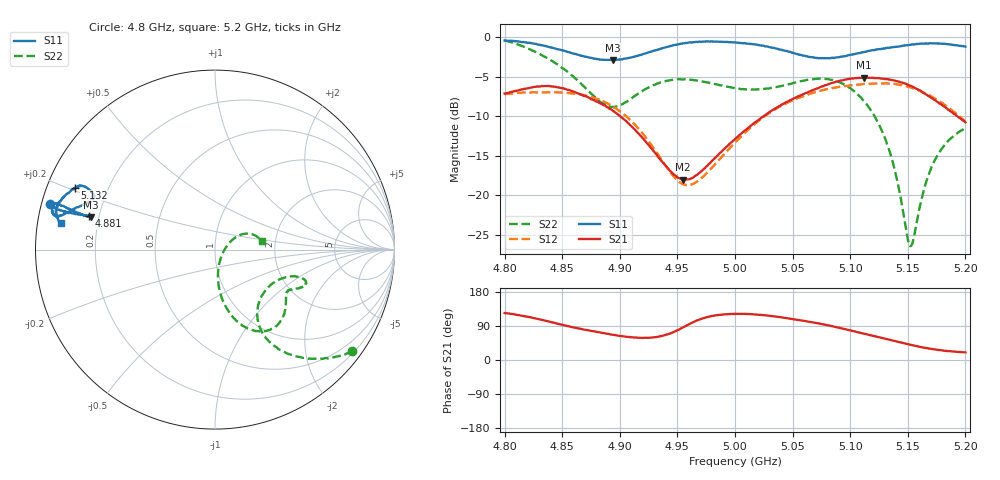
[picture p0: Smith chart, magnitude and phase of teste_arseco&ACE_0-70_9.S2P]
! Network Analyzer HP8722D
! Hewlett-Packard
! Data name: Linha & Wilkinson
! Saver's name: Rodrigo Anjos
! Comments: Teste da utilização de aquisição
! continua pelo VNA HP8722D
! Time and date: 8/5/2025 12:50
!  Frequency  S11  S21  S12  S22
# HZ  S  MA R 50
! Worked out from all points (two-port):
!   401 points, 4.8 GHz to 5.2 GHz, reference 50 ohm
!   highest |S21| = -5.13 dB at 5.112 GHz (marker M1); lowest = -18.1 dB at 4.955 GHz (marker M2)
!   |S21| within 3 dB of the highest: start of sweep to 4.879 GHz; 5.046 GHz to 5.175 GHz (128.7 MHz wide, 2.52 % of centre)
!   lowest |S11| = -2.9 dB at 4.894 GHz (marker M3), VSWR 6.00, Z = 8.46 + j6.29 ohm
!   |S11| at or under -10 dB: nowhere
!   |S22| runs from -26.5 to -0.4 dB; largest |S21 - S12| = 0.71
!   S11 on the Smith chart (normalised r, x): 4.8 GHz: 0.03, +0.14; 4.881 GHz: 0.16, +0.13; 5.132 GHz: 0.08, +0.21; 5.2 GHz: 0.07, +0.08
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4.8e9  0.9518 164.5  0.4397 124.1  0.4356 19.1  0.9507 -36.5
4.834e9  0.8818 165.6  0.4896 104.7  0.4472 8.9  0.7558 -52.2
4.867e9  0.7617 165.2  0.4311 81.4  0.432 -4.8  0.5022 -60.0
4.881e9  0.725 165.2  0.3893 73.8  0.4053 -13.1  0.4006 -53.5
4.894e9  0.7145 165.3  0.3417 66.6  0.3645 -21.3  0.3616 -38.7
4.934e9  0.8364 164.4  0.1721 61.8  0.177 -32.4  0.5115 -18.1
4.955e9  0.9132 164.0  0.1251 86.2  0.117 -7.0  0.5399 -20.7
4.97e9  0.9337 164.4  0.1401 107.7  0.1264 18.7  0.5257 -23.5
5e9  0.9248 167.5  0.2267 121.6  0.2152 40.0  0.4747 -28.0
5.036e9  0.8455 165.8  0.3572 114.3  0.3526 35.4  0.4828 -35.0
5.067e9  0.7468 158.9  0.4604 99.6  0.4428 22.0  0.5409 -47.6
5.091e9  0.7478 155.3  0.5298 84.3  0.4852 8.7  0.5156 -61.9
5.112e9  0.8038 154.1  0.5542 69.4  0.5055 -3.8  0.3936 -74.9
5.132e9  0.8544 156.2  0.5414 54.9  0.5093 -16.3  0.2106 -84.0
5.134e9  0.8549 156.5  0.537 53.6  0.5077 -17.8  0.1912 -84.2
5.141e9  0.8712 158.2  0.5256 48.4  0.5019 -22.6  0.1221 -81.8
5.15e9  0.8878 160.4  0.4991 41.8  0.4844 -28.7  0.0526 -47.9
5.153e9  0.8954 161.0  0.4899 39.6  0.4791 -30.8  0.0479 -18.3
5.164e9  0.908 163.9  0.4424 32.7  0.4447 -37.6  0.1085 29.2
5.172e9  0.914 165.7  0.4061 28.6  0.4147 -41.8  0.158 30.4
5.184e9  0.9023 168.0  0.3532 23.8  0.3636 -47.2  0.2161 23.9
5.2e9  0.87 170.3  0.2891 20.0  0.2913 -52.0  0.2647 10.2
